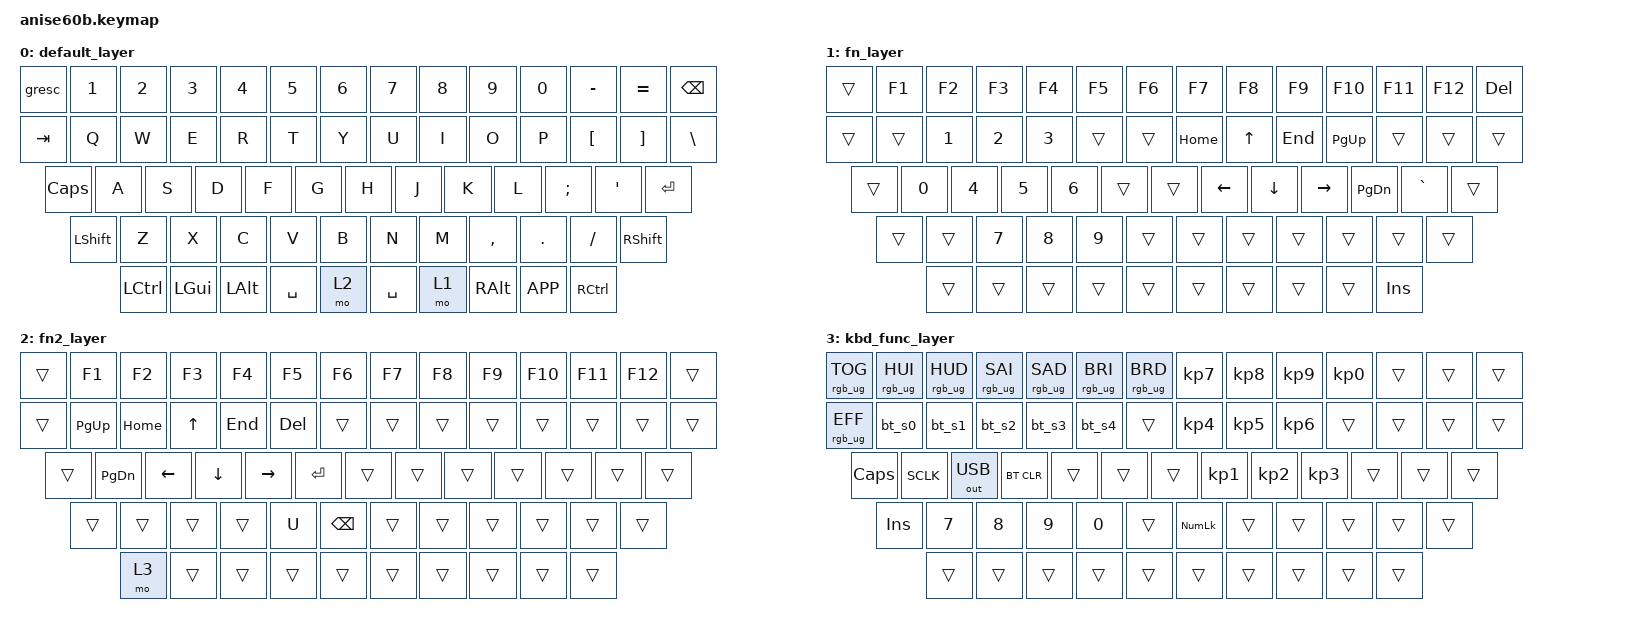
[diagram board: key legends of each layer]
/*
 * Copyright (c) 2020 The ZMK Contributors
 *
 * SPDX-License-Identifier: MIT
 */

#include <behaviors.dtsi>
#include <dt-bindings/zmk/rgb.h>
#include <dt-bindings/zmk/bt.h>
#include <dt-bindings/zmk/outputs.h>
#include <dt-bindings/zmk/keys.h>

/ {
    behaviors {
        gresc: grave_escape {
            compatible = "zmk,behavior-mod-morph";
            label = "GRAVE_ESCAPE";
            #binding-cells = <0>;
            bindings = <&kp ESC>, <&kp GRAVE>;
            mods = <(MOD_LGUI|MOD_LSFT|MOD_RGUI|MOD_RSFT)>;
        };
    };
    macros {
        bt_s0: bt_s0 {
            label = "bt_s0";
            compatible = "zmk,behavior-macro";
            #binding-cells = <0>;
            bindings = <&macro_tap &out OUT_BLE &bt BT_SEL 0>;
        };
        bt_s1: bt_s1 {
            label = "bt_s1";
            compatible = "zmk,behavior-macro";
            #binding-cells = <0>;
            bindings = <&macro_tap &out OUT_BLE &bt BT_SEL 1>;
        };
        bt_s2: bt_s2 {
            label = "bt_s2";
            compatible = "zmk,behavior-macro";
            #binding-cells = <0>;
            bindings = <&macro_tap &out OUT_BLE &bt BT_SEL 2>;
        };
        bt_s3: bt_s3 {
            label = "bt_s3";
            compatible = "zmk,behavior-macro";
            #binding-cells = <0>;
            bindings = <&macro_tap &out OUT_BLE &bt BT_SEL 3>;
        };
        bt_s4: bt_s4 {
            label = "bt_s4";
            compatible = "zmk,behavior-macro";
            #binding-cells = <0>;
            bindings = <&macro_tap &out OUT_BLE &bt BT_SEL 4>;
        };
    };
    keymap {
        compatible = "zmk,keymap";

// ----------------------------------------------      -----------------------------------------------------
// | GESC |  1   |  2  |  3   |  4  |  5  |  6  |      |  7  |  8  |  9  |  0  |  -  |  =  | BKSPC |
// | TAB   |  Q   |  W  |  E   |  R  |  T  |        |  Y  |  U  |  I  |  O  |  P  |  [  |  ]  |  \ |
// | CAPS   |  A   |  S  |  D   |  F  |  G  |        |  H  |  J  |  K  |  L  |  ;  |  '  |   ENTER |
// | SHIFT   |  Z   |  X  |  C   |  V   |  B  |        |  N  |  M  |  ,  |  .  |  /   |    RSHFT   |
//   | LCTL | LGUI | LALT |    SPACE    | FN2 |        |   SPACE   | FN1  | RALT | MENU | RCTL |
// -------------------------------------------        ------------------------------------------------------

//        // 0
//        default_layer {
//            bindings = <
//    &gresc   &kp N1   &kp N2   &kp N3   &kp N4   &kp N5  &kp N6 /**/   &kp N7    &kp N8   &kp N9    &kp N0    &kp MINUS &kp EQUAL &kp BSPC
//    &kp TAB    &kp Q    &kp W    &kp E    &kp R    &kp T        /**/ &kp Y     &kp U    &kp I     &kp O     &kp P     &kp LBKT  &kp RBKT &kp BSPC
//    &kp ESC     &kp A    &kp S    &kp D    &kp F  &kp G         /**/  &kp H     &kp J    &kp K     &kp L     &kp SEMI  &kp SQT   &kp RET
//    &kp LSHFT     &kp Z    &kp X    &kp C    &kp V  &kp B       /**/    &kp N     &kp M    &kp COMMA &kp DOT   &kp FSLH  &kp RSHFT
//    &kp LALT    &kp LGUI  &kp LCTRL      &kp SPACE     &mo 2    /**/ &kp SPACE &mo 1    &kp RALT  &kp K_APP  &kp RCTRL
//            >;
//        };
//        // 1
//        fn_layer {
//            bindings = <
//    &trans     &kp F1     &kp F2   &kp F3    &kp F4   &kp F5    &kp F6   /**/   &kp F7   &kp F8   &kp F9   &kp F10   &kp F11 &kp F12     &kp DEL
//    &trans      &kp EXCL   &kp N1   &kp N2    &kp N3   &kp PRCNT         /**/ &kp AMPS  &kp STAR &kp LPAR &kp RPAR  &kp PLUS  &kp BSLH  &kp PIPE  &trans
//    &trans       &kp N0     &kp N4   &kp N5    &kp N6   &kp DLLR         /**/  &kp LEFT  &kp DOWN &kp UP   &kp RIGHT &kp CARET  &kp GRAVE  &trans
//    &trans         &kp AT     &kp N7   &kp N8    &kp N9   &kp HASH       /**/    &kp UNDER &kp MINUS &kp EQUAL &trans  &trans  &kp PG_UP
//    &trans            &trans      &trans             &trans      &trans  /**/    &trans        &trans &trans &trans  &kp PG_DN
//            >;
//        };
      // 0
         default_layer {
             bindings = <
     &gresc   &kp N1   &kp N2   &kp N3   &kp N4 &kp N5 &kp N6 /**/   &kp N7    &kp N8   &kp N9    &kp N0    &kp MINUS &kp EQUAL &kp BSPC
     &kp TAB    &kp Q    &kp W    &kp E    &kp R  &kp T        /**/ &kp Y     &kp U    &kp I     &kp O     &kp P     &kp LBKT  &kp RBKT &kp BSLH
     &kp CAPS   &kp A    &kp S    &kp D    &kp F  &kp G         /**/  &kp H     &kp J    &kp K     &kp L     &kp SEMI  &kp SQT   &kp RET
     &kp LSHFT     &kp Z    &kp X    &kp C    &kp V  &kp B     /**/    &kp N     &kp M    &kp COMMA &kp DOT   &kp FSLH  &kp RSHFT
     &kp LCTRL    &kp LGUI  &kp LALT      &kp SPACE     &mo 2  /**/ &kp SPACE           &mo 1    &kp RALT  &kp K_APP  &kp RCTRL
             >;
         };

      // 1
         fn_layer {
             bindings = <
     &trans     &kp F1     &kp F2   &kp F3    &kp F4   &kp F5    &kp F6   /**/   &kp F7   &kp F8   &kp F9   &kp F10   &kp F11 &kp F12     &kp DEL
     &trans      &trans     &kp N1   &kp N2    &kp N3   &trans            /**/ &trans    &kp HOME &kp UP &kp END  &kp PG_UP  &trans  &trans  &trans
     &trans       &kp N0     &kp N4   &kp N5    &kp N6   &trans           /**/  &trans    &kp LEFT &kp DOWN   &kp RIGHT &kp PG_DN  &kp GRAVE  &trans
     &trans         &trans     &kp N7   &kp N8    &kp N9   &trans         /**/    &trans   &trans   &trans    &trans     &trans     &trans
     &trans            &trans      &trans             &trans      &trans  /**/    &trans        &trans &trans   &trans  &kp INS
             >;
         };
        // 2
        fn2_layer {
            bindings = <
    &trans     &kp F1       &kp F2       &kp F3       &kp F4    &kp F5    &kp F6   /**/   &kp F7    &kp F8    &kp F9    &kp F10    &kp F11 &kp F12 &trans
    &trans      &kp PG_UP &kp HOME   &kp UP      &kp END      &kp DEL              /**/ &trans &trans    &trans    &trans     &trans  &trans  &trans &trans
    &trans        &kp PG_DN  &kp LEFT     &kp DOWN     &kp RIGHT &kp RET         /**/  &trans &trans    &trans    &trans     &trans  &trans  &trans
    &trans           &trans       &trans      &trans       &kp U      &kp BSPC     /**/     &trans     &trans &trans &trans  &trans  &trans
    &mo 3             &trans         &trans           &trans              &trans   /**/    &trans        &trans &trans &trans  &trans
            >;
        };
        // 3
        kbd_func_layer {
            bindings = <
    &rgb_ug RGB_TOG &rgb_ug RGB_HUI  &rgb_ug RGB_HUD &rgb_ug RGB_SAI &rgb_ug RGB_SAD &rgb_ug RGB_BRI &rgb_ug RGB_BRD  /**/   &kp KP_N7 &kp KP_N8 &kp KP_N9 &kp KP_N0  &trans  &trans  &trans
    &rgb_ug RGB_EFF &bt_s0   &bt_s1     &bt_s2       &bt_s3       &bt_s4                                              /**/ &trans &kp KP_N4 &kp KP_N5 &kp KP_N6  &trans  &trans  &trans &trans
    &kp CAPS      &kp SCLK      &out OUT_USB &bt BT_CLR   &trans    &trans                                            /**/  &trans &kp KP_N1 &kp KP_N2 &kp KP_N3  &trans  &trans  &trans
    &kp INS        &kp N7         &kp N8      &kp N9       &kp N0     &trans                                          /**/     &kp KP_NUM &trans &trans &trans  &trans  &trans
    &trans            &trans         &trans           &trans              &trans                                      /**/    &trans        &trans &trans &trans  &trans
            >;
        };
    };
};

//         // 0
//         default_layer {
//             bindings = <
//     &gresc   &kp N1   &kp N2   &kp N3   &kp N4   &kp N5  &kp N6 /**/   &kp N7    &kp N8   &kp N9    &kp N0    &kp MINUS &kp EQUAL &kp BSPC
//     &kp TAB    &kp Q    &kp W    &kp E    &kp R    &kp T        /**/ &kp Y     &kp U    &kp I     &kp O     &kp P     &kp LBKT  &kp RBKT &kp BSPC
//     &kp ESC     &kp A    &kp S    &kp D    &kp F  &kp G         /**/  &kp H     &kp J    &kp K     &kp L     &kp SEMI  &kp SQT   &kp RET
//     &kp LSHFT     &kp Z    &kp X    &kp C    &kp V  &kp B       /**/    &kp N     &kp M    &kp COMMA &kp DOT   &kp FSLH  &kp RSHFT
//     &kp LALT    &kp LGUI  &kp LCTRL      &kp SPACE     &mo 2    /**/ &kp SPACE &mo 1    &kp RALT  &kp K_APP  &kp RCTRL
//             >;
//         };
//         // 1
//         fn_layer {
//             bindings = <
//     &trans     &kp F1     &kp F2   &kp F3    &kp F4   &kp F5    &kp F6   /**/   &kp F7   &kp F8   &kp F9   &kp F10   &kp F11 &kp F12     &kp DEL
//     &trans      &kp EXCL   &kp N1   &kp N2    &kp N3   &kp PRCNT         /**/ &kp AMPS  &kp STAR &kp LPAR &kp RPAR  &kp PLUS  &kp BSLH  &kp PIPE  &trans
//     &trans       &kp N0     &kp N4   &kp N5    &kp N6   &kp DLLR         /**/  &kp LEFT  &kp DOWN &kp UP   &kp RIGHT &kp CARET  &kp GRAVE  &trans
//     &trans         &kp AT     &kp N7   &kp N8    &kp N9   &kp HASH       /**/    &kp UNDER &kp MINUS &kp EQUAL &trans  &trans  &kp PG_UP
//     &trans            &trans      &trans             &trans      &trans  /**/    &trans        &trans &trans &trans  &kp PG_DN
//             >;
//         };

//         // 0
//         default_layer {
//             bindings = <
//     &gresc   &kp N1   &kp N2   &kp N3   &kp N4   &kp N5  &kp N6 /**/   &kp N7    &kp N8   &kp N9    &kp N0    &kp MINUS &kp EQUAL &kp BSPC
//     &kp TAB    &kp Q    &kp W    &kp E    &kp R    &kp T        /**/ &kp Y     &kp U    &kp I     &kp O     &kp P     &kp LBKT  &kp RBKT &kp BSLH
//     &kp CAPS     &kp A    &kp S    &kp D    &kp F  &kp G        /**/  &kp H     &kp J    &kp K     &kp L     &kp SEMI  &kp SQT   &kp RET
//     &kp LSHFT     &kp Z    &kp X    &kp C    &kp V  &kp B       /**/    &kp N     &kp M    &kp COMMA &kp DOT   &kp FSLH  &kp RSHFT
//     &kp LCTRL    &kp LGUI  &kp LALT      &kp SPACE     &mo 2    /**/ &kp SPACE &mo 1    &kp RALT  &kp K_APP  &kp RCTRL
//             >;
//         };
//         // 1
//         fn_layer {
//             bindings = <
//     &trans     &kp F1     &kp F2   &kp F3    &kp F4   &kp F5    &kp F6   /**/   &kp F7   &kp F8   &kp F9   &kp F10   &kp F11 &kp F12     &kp DEL
//     &trans      &trans     &kp N1   &kp N2    &kp N3   &trans            /**/ &trans    &trans   &kp UP   &trans    &trans    &trans    &trans    &trans
//     &trans       &kp N0     &kp N4   &kp N5    &kp N6   &trans           /**/  &trans    &kp LEFT &kp DOWN &kp RIGHT &trans     &kp GRAVE  &trans
//     &trans         &trans     &kp N7   &kp N8    &kp N9   &trans         /**/    &trans    &trans    &trans    &trans  &trans  &kp PG_UP
//     &trans            &trans      &trans             &trans      &trans  /**/    &trans        &trans &trans &trans  &kp PG_DN
//             >;
//         };
